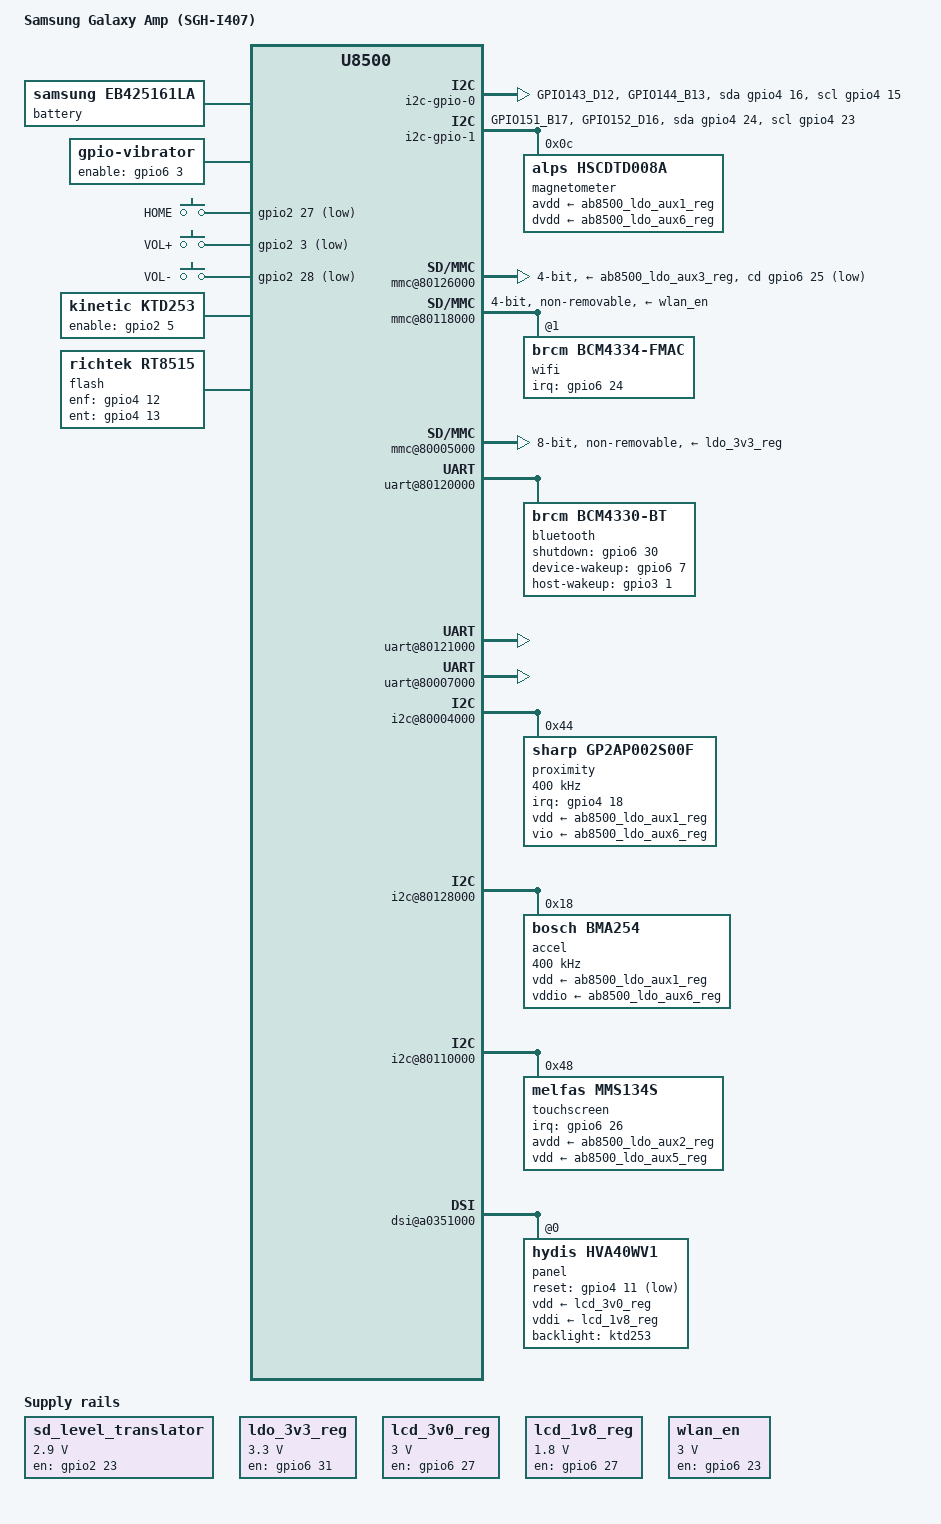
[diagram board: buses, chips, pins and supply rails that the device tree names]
// SPDX-License-Identifier: GPL-2.0-only
/*
 * Devicetree for the Samsung Galaxy Amp SGH-I407 also known as Kyle.
 *
 * The code also refers to "Kyle AT&T" reflecting that this mobile phone
 * was customized for the AT&T subsidiary Aio Wireless (All In One) and
 * offered by the company in 2013.
 */

/dts-v1/;
#include "ste-db8500.dtsi"
#include "ste-ab8505.dtsi"
#include "ste-dbx5x0-pinctrl.dtsi"
#include <dt-bindings/gpio/gpio.h>
#include <dt-bindings/leds/common.h>
#include <dt-bindings/input/input.h>
#include <dt-bindings/interrupt-controller/irq.h>

/ {
	model = "Samsung Galaxy Amp (SGH-I407)";
	compatible = "samsung,kyle", "st-ericsson,u8500";

	chosen {
		stdout-path = &serial2;
	};

	battery: battery {
		compatible = "samsung,eb425161la";
	};

	/* TI TXS0206 level translator for 2.9 V */
	sd_level_translator: regulator-gpio {
		compatible = "regulator-fixed";

		/* GPIO87 EN */
		gpios = <&gpio2 23 GPIO_ACTIVE_HIGH>;
		enable-active-high;

		regulator-name = "sd-level-translator";
		regulator-min-microvolt = <2900000>;
		regulator-max-microvolt = <2900000>;
		regulator-type = "voltage";

		startup-delay-us = <200>;

		pinctrl-names = "default";
		pinctrl-0 = <&sd_level_translator_default>;
	};

	/* External LDO MIC5366-3.3YMT for eMMC */
	ldo_3v3_reg: regulator-gpio-ldo-3v3 {
		compatible = "regulator-fixed";
		regulator-name = "en-3v3-fixed-supply";
		regulator-min-microvolt = <3300000>;
		regulator-max-microvolt = <3300000>;
		gpio = <&gpio6 31 GPIO_ACTIVE_HIGH>;
		startup-delay-us = <5000>;
		enable-active-high;
		pinctrl-names = "default";
		pinctrl-0 = <&emmc_ldo_en_default_mode>;
	};

	/*
	 * External Ricoh RP152L010B-TR LCD LDO regulator for the display.
	 * LCD_PWR_EN controls both a 3.0V and 1.8V output.
	 */
	lcd_3v0_reg: regulator-gpio-lcd-3v0 {
		compatible = "regulator-fixed";
		/* Supplied in turn by VBAT */
		regulator-name = "VREG_LCD_3V0";
		regulator-min-microvolt = <3000000>;
		regulator-max-microvolt = <3000000>;
		/* GPIO219 controls this regulator */
		gpio = <&gpio6 27 GPIO_ACTIVE_HIGH>;
		enable-active-high;
		pinctrl-names = "default";
		pinctrl-0 = <&lcd_pwr_en_default_mode>;
	};
	lcd_1v8_reg: regulator-gpio-lcd-1v8 {
		compatible = "regulator-fixed";
		/* Supplied in turn by VBAT */
		regulator-name = "VREG_LCD_1V8";
		regulator-min-microvolt = <1800000>;
		regulator-max-microvolt = <1800000>;
		/* GPIO219 controls this regulator too */
		gpio = <&gpio6 27 GPIO_ACTIVE_HIGH>;
		enable-active-high;
		pinctrl-names = "default";
		pinctrl-0 = <&lcd_pwr_en_default_mode>;
	};

	wlan_en: regulator-gpio-wlan-en {
		compatible = "regulator-fixed";
		regulator-name = "wl-reg-on";
		regulator-min-microvolt = <3000000>;
		regulator-max-microvolt = <3000000>;
		startup-delay-us = <200000>;
		/* GPIO215 WLAN_EN */
		gpio = <&gpio6 23 GPIO_ACTIVE_HIGH>;
		enable-active-high;
		pinctrl-names = "default";
		pinctrl-0 = <&wlan_en_default_mode>;
	};

	vibrator {
		compatible = "gpio-vibrator";
		enable-gpios = <&gpio6 3 GPIO_ACTIVE_HIGH>;
		pinctrl-names = "default";
		pinctrl-0 = <&vibrator_default>;
	};

	gpio-keys {
		compatible = "gpio-keys";
		pinctrl-names = "default";
		pinctrl-0 = <&gpio_keys_default_mode>;

		button-home {
			linux,code = <KEY_HOME>;
			label = "HOME";
			/* GPIO91 */
			gpios = <&gpio2 27 GPIO_ACTIVE_LOW>;
		};
		button-volup {
			linux,code = <KEY_VOLUMEUP>;
			label = "VOL+";
			/* GPIO67 */
			gpios = <&gpio2 3 GPIO_ACTIVE_LOW>;
		};
		button-voldown {
			linux,code = <KEY_VOLUMEDOWN>;
			label = "VOL-";
			/* GPIO92 */
			gpios = <&gpio2 28 GPIO_ACTIVE_LOW>;
		};
	};

	ktd253: backlight {
		compatible = "kinetic,ktd253";
		/* GPIO 69 */
		enable-gpios = <&gpio2 5 GPIO_ACTIVE_HIGH>;
		/* Default to 13/32 brightness */
		default-brightness = <13>;
		pinctrl-names = "default";
		pinctrl-0 = <&gpio_backlight_default_mode>;
	};

	/* Richtek RT8515GQW Flash LED Driver IC */
	flash {
		compatible = "richtek,rt8515";
		/* GPIO 140 */
		enf-gpios = <&gpio4 12 GPIO_ACTIVE_HIGH>;
		/* GPIO 141 */
		ent-gpios = <&gpio4 13 GPIO_ACTIVE_HIGH>;
		/*
		 * RFS is 16 kOhm and RTS is 100 kOhm giving
		 * the flash max current 343mA and torch max
		 * current 55 mA.
		 */
		richtek,rfs-ohms = <16000>;
		richtek,rts-ohms = <100000>;
		pinctrl-names = "default";
		pinctrl-0 = <&gpio_flash_default_mode>;

		led {
			function = LED_FUNCTION_FLASH;
			color = <LED_COLOR_ID_WHITE>;
			flash-max-timeout-us = <250000>;
			flash-max-microamp = <343750>;
			led-max-microamp = <55000>;
		};
	};

	i2c-gpio-0 {
		compatible = "i2c-gpio";
		sda-gpios = <&gpio4 16 (GPIO_ACTIVE_HIGH|GPIO_OPEN_DRAIN)>;
		scl-gpios = <&gpio4 15 (GPIO_ACTIVE_HIGH|GPIO_OPEN_DRAIN)>;
		pinctrl-names = "default";
		pinctrl-0 = <&i2c_gpio_0_default>;
		#address-cells = <1>;
		#size-cells = <0>;
		/* TODO: this should be used by the NCP6914 Camera power management unit */
	};

	i2c-gpio-1 {
		compatible = "i2c-gpio";
		sda-gpios = <&gpio4 24 (GPIO_ACTIVE_HIGH|GPIO_OPEN_DRAIN)>;
		scl-gpios = <&gpio4 23 (GPIO_ACTIVE_HIGH|GPIO_OPEN_DRAIN)>;
		pinctrl-names = "default";
		pinctrl-0 = <&i2c_gpio_1_default>;
		#address-cells = <1>;
		#size-cells = <0>;
		magnetometer@c {
			compatible = "alps,hscdtd008a";
			reg = <0x0c>;
			avdd-supply = <&ab8500_ldo_aux1_reg>;
			dvdd-supply = <&ab8500_ldo_aux6_reg>;
		};
	};

	soc {
		// External Micro SD slot
		mmc@80126000 {
			arm,primecell-periphid = <0x10480180>;
			max-frequency = <100000000>;
			bus-width = <4>;
			cap-sd-highspeed;
			cap-mmc-highspeed;
			st,sig-pin-fbclk;
			full-pwr-cycle;
			vmmc-supply = <&ab8500_ldo_aux3_reg>;
			vqmmc-supply = <&sd_level_translator>;
			pinctrl-names = "default", "sleep";
			pinctrl-0 = <&mc0_a_1_default>;
			pinctrl-1 = <&mc0_a_1_sleep>;
			cd-gpios  = <&gpio6 25 GPIO_ACTIVE_LOW>; // GPIO217
			status = "okay";
		};

		// WLAN SDIO channel
		mmc@80118000 {
			arm,primecell-periphid = <0x10480180>;
			max-frequency = <50000000>;
			bus-width = <4>;
			non-removable;
			cap-sd-highspeed;
			vmmc-supply = <&wlan_en>;
			pinctrl-names = "default", "sleep";
			pinctrl-0 = <&mc1_a_2_default>;
			pinctrl-1 = <&mc1_a_2_sleep>;
			status = "okay";
			#address-cells = <1>;
			#size-cells = <0>;

			wifi@1 {
				compatible = "brcm,bcm4334-fmac", "brcm,bcm4329-fmac";
				reg = <1>;
				/* GPIO216 WL_HOST_WAKE */
				interrupt-parent = <&gpio6>;
				interrupts = <24 IRQ_TYPE_EDGE_FALLING>;
				interrupt-names = "host-wake";
				pinctrl-names = "default";
				pinctrl-0 = <&wlan_default_mode>;
			};
		};

		/*
		 * eMMC seems to be mostly Samsung KLM4G1YE4C "4YMD1R"
		 */
		mmc@80005000 {
			arm,primecell-periphid = <0x10480180>;
		        max-frequency = <100000000>;
			bus-width = <8>;
			non-removable;
			cap-mmc-highspeed;
			mmc-ddr-1_8v;
			no-sdio;
			no-sd;
			/* From datasheet page 26 figure 9: 300 ms set-up time for 4GB */
			post-power-on-delay-ms = <300>;
			vmmc-supply = <&ldo_3v3_reg>;
			pinctrl-names = "default", "sleep";
			pinctrl-0 = <&mc2_a_1_default>;
			pinctrl-1 = <&mc2_a_1_sleep>;

			status = "okay";
		};

		/* GBF (Bluetooth) UART */
		uart@80120000 {
			pinctrl-names = "default", "sleep";
			pinctrl-0 = <&u0_a_1_default>;
			pinctrl-1 = <&u0_a_1_sleep>;
			status = "okay";

			bluetooth {
				/* BCM4334B0 actually */
				compatible = "brcm,bcm4330-bt";
				shutdown-gpios = <&gpio6 30 GPIO_ACTIVE_HIGH>;
				device-wakeup-gpios = <&gpio6 7 GPIO_ACTIVE_HIGH>;
				host-wakeup-gpios = <&gpio3 1 GPIO_ACTIVE_HIGH>;
				pinctrl-names = "default";
				pinctrl-0 = <&bluetooth_default_mode>;
			};
		};

		/* GPF UART */
		uart@80121000 {
			status = "okay";
			pinctrl-names = "default", "sleep";
			pinctrl-0 = <&u1rxtx_a_1_default &u1ctsrts_a_1_default>;
			pinctrl-1 = <&u1rxtx_a_1_sleep &u1ctsrts_a_1_sleep>;
		};

		/* Debugging console UART connected to AB8505 USB */
		uart@80007000 {
			status = "okay";
			pinctrl-names = "default", "sleep";
			pinctrl-0 = <&u2rxtx_c_1_default>;
			pinctrl-1 = <&u2rxtx_c_1_sleep>;
		};

		prcmu@80157000 {
			ab8505 {
				ab8500_usb {
					pinctrl-names = "default", "sleep";
					pinctrl-0 = <&usb_a_1_default>;
					pinctrl-1 = <&usb_a_1_sleep>;
				};

				ab8505-regulators {
					ab8500_ldo_aux1 {
						/* Used for VDD for sensors */
						regulator-name = "AUX1";
						regulator-min-microvolt = <3000000>;
						regulator-max-microvolt = <3300000>;
					};

					ab8500_ldo_aux2 {
						/* Supplies the MMS touchscreen only with 3.3V */
						regulator-name = "AUX2";
						regulator-min-microvolt = <3300000>;
						regulator-max-microvolt = <3300000>;
					};

					ab8500_ldo_aux3 {
						/* Used for voltage for external MMC/SD card */
						regulator-name = "AUX3";
						regulator-min-microvolt = <1100000>;
						regulator-max-microvolt = <3300000>;
					};

					ab8500_ldo_aux4 {
						regulator-name = "AUX4";
						/* Hammer to 3.3V for the touchscreen */
						regulator-min-microvolt = <3300000>;
						regulator-max-microvolt = <3300000>;
					};

					ab8500_ldo_aux5 {
						regulator-name = "AUX5";
						/* 1.8V for the touchscreen */
						regulator-min-microvolt = <1800000>;
						regulator-max-microvolt = <1800000>;
					};

					ab8500_ldo_aux6 {
						regulator-name = "AUX6";
						/* Used by sensors for 1.8 V in R0.1+ */
						regulator-min-microvolt = <1800000>;
						regulator-max-microvolt = <1800000>;
					};

					ab8500_ldo_aux8 {
						/* Unused */
						regulator-name = "AUX8";
					};
				};
			};
		};

		/* I2C0 */
		i2c@80004000 {
			status = "okay";

			pinctrl-names = "default", "sleep";
			pinctrl-0 = <&i2c0_a_1_default>;
			pinctrl-1 = <&i2c0_a_1_sleep>;

			proximity@44 {
				compatible = "sharp,gp2ap002s00f";
				clock-frequency = <400000>;
				reg = <0x44>;

				interrupt-parent = <&gpio4>;
				interrupts = <18 IRQ_TYPE_EDGE_FALLING>;
				vdd-supply = <&ab8500_ldo_aux1_reg>;
				vio-supply = <&ab8500_ldo_aux6_reg>;
				pinctrl-names = "default";
				pinctrl-0 = <&gp2ap002_kyle_default>;
				sharp,proximity-far-hysteresis = /bits/ 8 <0x2f>;
				sharp,proximity-close-hysteresis = /bits/ 8 <0x0f>;
			};
		};

		/* I2C2 */
		i2c@80128000 {
			status = "okay";

			pinctrl-names = "default", "sleep";
			pinctrl-0 = <&i2c2_b_2_default>;
			pinctrl-1 = <&i2c2_b_2_sleep>;

			accel@18 {
				compatible = "bosch,bma254";
				clock-frequency = <400000>;
				reg = <0x18>;

				mount-matrix = "-1", "0", "0",
					       "0", "-1", "0",
					       "0", "0", "-1";
				vdd-supply = <&ab8500_ldo_aux1_reg>;
				vddio-supply = <&ab8500_ldo_aux6_reg>;
			};
		};

		/* I2C3 */
		i2c@80110000 {
			status = "okay";

			pinctrl-names = "default", "sleep";
			pinctrl-0 = <&i2c3_c_2_default>;
			pinctrl-1 = <&i2c3_c_2_sleep>;

			/* Melfas MMS134S touchscreen */
			touchscreen@48 {
				compatible = "melfas,mms134s";
				reg = <0x48>;
				/* GPIO218 for IRQ */
				interrupt-parent = <&gpio6>;
				interrupts = <26 IRQ_TYPE_EDGE_FALLING>;
				/* AVDD is "analog supply", 2.57-3.47 V */
				avdd-supply = <&ab8500_ldo_aux2_reg>;
				/* VDD is "digital supply" 1.71-3.47V */
				vdd-supply = <&ab8500_ldo_aux5_reg>;

				touchscreen-size-x = <480>;
				touchscreen-size-y = <800>;

				pinctrl-names = "default";
				pinctrl-0 = <&mms134s_kyle_default>;
			};
		};

		mcde@a0350000 {
			status = "okay";
			pinctrl-names = "default";
			pinctrl-0 = <&dsi_default_mode>;

			dsi@a0351000 {
				panel {
					/*
					 * NT35510-based Hydis HVA40WV1
					 * Apparently some Kyle models can have a NT35512 fitted
					 * here instead. In that case the boot loader needs to
					 * modify this compatible.
					 */
					compatible = "hydis,hva40wv1", "novatek,nt35510";
					reg = <0>;
					/* v_lcd_3v0 2.3-4.8V */
					vdd-supply = <&lcd_3v0_reg>;
					/* v_lcd_1v8 1.65-3.3V */
					vddi-supply = <&lcd_1v8_reg>;
					/* GPIO 139 */
					reset-gpios = <&gpio4 11 GPIO_ACTIVE_LOW>;
					pinctrl-names = "default";
					pinctrl-0 = <&display_default_mode>;
					backlight = <&ktd253>;
				};
			};
		};
	};
};

&pinctrl {
	/*
	 * This extends the MC0_A_1 default config to include
	 * the card detect GPIO217 line.
	 */
	sdi0 {
		mc0_a_1_default {
			default_cfg1 {
				/* GPIO18, 19 & 20 unused so pull down */
				ste,config = <&gpio_in_pd>;
			};
			default_cfg4 {
				pins = "GPIO217_AH12"; /* card detect */
				ste,config = <&gpio_in_pd>;
			};
		};
	};

	mcde {
		dsi_default_mode: dsi_default {
			default_mux1 {
				/* Mux in VSI0 used for DSI TE */
				function = "lcd";
				groups = "lcdvsi0_a_1"; /* VSI0 for LCD */
			};
			default_cfg1 {
				pins = "GPIO68_E1"; /* VSI0 */
				ste,config = <&in_nopull>;
			};
		};
	};

	/* Two GPIO lines used by the display */
	display {
		display_default_mode: display_default {
			kyle_cfg1 {
				/*
				 * OLED DETECT or check_pba, this appears to be high
				 * on "PBA" which I guess is "prototype board A".
				 */
				pins = "GPIO93_B7";
				ste,config = <&gpio_in_nopull>;
			};
			kyle_cfg2 {
				pins = "GPIO139_C9";
				/*
				 * MIPI_DSI0_RESET_N resets the display, leave high
				 * (de-asserted) so we only assert reset explicitly
				 * from the display driver.
				 */
				ste,config = <&gpio_out_hi>;
			};
		};
	};

	/* GPIO that enables the LDO regulator for the LCD display */
	lcd-ldo {
		lcd_pwr_en_default_mode: lcd_pwr_en_default {
			/* LCD_PWR_EN on GPIO219 */
			kyle_cfg1 {
				pins = "GPIO219_AG10";
				ste,config = <&gpio_out_hi>;
			};
		};
	};

	backlight {
		gpio_backlight_default_mode: backlight_default {
			kyle_cfg1 {
				pins = "GPIO69_E2"; /* LCD_BL_CTRL */
				ste,config = <&gpio_out_lo>;
			};
		};
	};
	flash {
		gpio_flash_default_mode: flash_default {
			kyle_cfg1 {
				pins = "GPIO140_B11", "GPIO141_C12";
				ste,config = <&gpio_out_lo>;
			};
		};
	};
	/* GPIO that enables the 2.9V SD card level translator */
	sd-level-translator {
		sd_level_translator_default: sd_level_translator_default {
			/* level shifter on GPIO87 */
			kyle_cfg1 {
				pins = "GPIO87_B3";
				ste,config = <&gpio_out_hi>;
			};
		};
	};
	/* GPIO that enables the LDO regulator for the eMMC */
	emmc-ldo {
		emmc_ldo_en_default_mode: emmc_ldo_default {
			/* LDO enable on GPIO223 */
			kyle_cfg1 {
				pins = "GPIO223_AH9";
				ste,config = <&gpio_out_hi>;
			};
		};
	};
	/* GPIO keys */
	gpio-keys {
		gpio_keys_default_mode: gpio_keys_default {
			kyle_cfg1 {
				pins = "GPIO67_G2", /* VOL UP */
				       "GPIO91_B6", /* HOME */
				       "GPIO92_D6"; /* VOL DOWN */
					ste,config = <&gpio_in_pu>;
			};
		};
	};
	/* Interrupt line for light/proximity sensor GP2AP002 */
	gp2ap002 {
		gp2ap002_kyle_default: gp2ap002_kyle {
			kyle_cfg1 {
				pins = "GPIO146_D13";
				ste,config = <&gpio_in_nopull>;
			};
		};
	};
	/* GPIO-based I2C bus for NCP6914 */
	i2c-gpio-0 {
		i2c_gpio_0_default: i2c_gpio_0 {
			kyle_cfg1 {
				pins = "GPIO143_D12", "GPIO144_B13";
				ste,config = <&gpio_in_nopull>;
			};
		};
	};
	/* GPIO-based I2C bus for ALPS HSCD compass */
	i2c-gpio-1 {
		i2c_gpio_1_default: i2c_gpio_1 {
			kyle_cfg1 {
				pins = "GPIO151_B17", "GPIO152_D16";
				ste,config = <&gpio_in_nopull>;
			};
		};
	};
	wlan {
		wlan_default_mode: wlan_default {
			kyle_cfg1 {
				pins = "GPIO216_AG12";
				ste,config = <&gpio_in_pd>;
			};
		};
		wlan_en_default_mode: wlan_en_default {
			kyle_cfg2 {
				pins = "GPIO215_AH13";
				ste,config = <&gpio_out_lo>;
			};
		};
	};
	bluetooth {
		bluetooth_default_mode: bluetooth_default {
			kyle_cfg1 {
				pins = "GPIO199_AH23", "GPIO222_AJ9";
				ste,config = <&gpio_out_lo>;
			};
			kyle_cfg2 {
				pins = "GPIO97_D9";
				ste,config = <&gpio_in_nopull>;
			};
		};
	};
	vibrator {
		vibrator_default: vibrator_default {
			kyle_cfg1 {
				pins = "GPIO195_AG28";	/* MOT_EN */
				ste,config = <&gpio_out_lo>;
			};
		};
	};
	/* Interrupt line for the Melfas MMS134S touchscreen */
	touchscreen {
		mms134s_kyle_default: mms134s_kyle {
			kyle_cfg1 {
				pins = "GPIO218_AH11";
				ste,config = <&gpio_in_nopull>;
			};
		};
	};
};

&ab8505_gpio {
	/* Hog a few default settings */
	pinctrl-names = "default";
	pinctrl-0 = <&gpio_default>;

	gpio {
		gpio_default: gpio_default {
			kyle_mux {
				/* Change unused pins to GPIO mode */
				function = "gpio";
				groups = "gpio3_a_1",	/* default: SysClkReq4 */
					 "gpio14_a_1";	/* default: PWMOut1 */
			};
			kyle_cfg1 {
				pins = "GPIO11_B17", "GPIO13_D17", "GPIO50_L4";
				bias-disable;
			};
		};
	};
};
